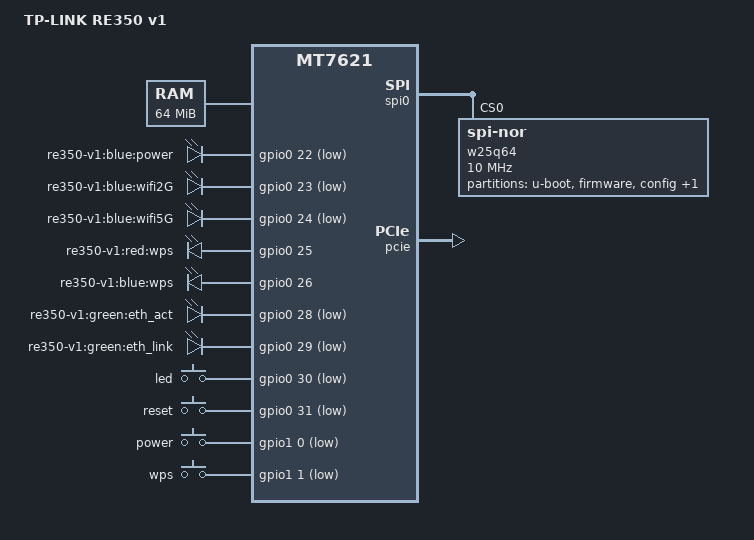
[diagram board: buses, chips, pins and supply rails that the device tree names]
/dts-v1/;

#include "mt7621.dtsi"

#include <dt-bindings/gpio/gpio.h>
#include <dt-bindings/input/input.h>

/ {
	compatible = "tplink,re350-v1", "mediatek,mt7621-soc";
	model = "TP-LINK RE350 v1";

	aliases {
		led-boot = &led_power;
		led-failsafe = &led_power;
		led-running = &led_power;
		led-upgrade = &led_power;
	};

	memory@0 {
		device_type = "memory";
		reg = <0x0 0x4000000>;
	};

	chosen {
		bootargs = "console=ttyS0,57600";
	};

	leds {
		compatible = "gpio-leds";

		led_power: power {
			label = "re350-v1:blue:power";
			gpios = <&gpio0 22 GPIO_ACTIVE_LOW>;
		};

		wifi2g {
			label = "re350-v1:blue:wifi2G";
			gpios = <&gpio0 23 GPIO_ACTIVE_LOW>;
		};

		wifi5g {
			label = "re350-v1:blue:wifi5G";
			gpios = <&gpio0 24 GPIO_ACTIVE_LOW>;
		};

		wps_r {
			label = "re350-v1:red:wps";
			gpios = <&gpio0 25 GPIO_ACTIVE_HIGH>;
		};

		wps_b {
			label = "re350-v1:blue:wps";
			gpios = <&gpio0 26 GPIO_ACTIVE_HIGH>;
		};

		eth {
			label = "re350-v1:green:eth_act";
			gpios = <&gpio0 28 GPIO_ACTIVE_LOW>;
		};

		eth2 {
			label = "re350-v1:green:eth_link";
			gpios = <&gpio0 29 GPIO_ACTIVE_LOW>;
		};
	};

	keys {
		compatible = "gpio-keys-polled";
		poll-interval = <20>;

		led {
			label = "led";
			gpios = <&gpio0 30 GPIO_ACTIVE_LOW>;
			linux,code = <BTN_0>;
		};

		reset {
			label = "reset";
			gpios = <&gpio0 31 GPIO_ACTIVE_LOW>;
			linux,code = <KEY_RESTART>;
		};

		power {
			label = "power";
			gpios = <&gpio1 0 GPIO_ACTIVE_LOW>;
			linux,code = <KEY_POWER>;
		};

		wps {
			label = "wps";
			gpios = <&gpio1 1 GPIO_ACTIVE_LOW>;
			linux,code = <KEY_WPS_BUTTON>;
		};
	};
};

&spi0 {
	status = "okay";

	w25q64@0 {
		compatible = "jedec,spi-nor";
		reg = <0>;
		spi-max-frequency = <10000000>;

		partitions {
			compatible = "fixed-partitions";
			#address-cells = <1>;
			#size-cells = <1>;

			partition@0 {
				label = "u-boot";
				reg = <0x0 0x20000>;
				read-only;
			};

			partition@20000 {
				compatible = "tplink,firmware";
				label = "firmware";
				reg = <0x20000 0x5e0000>;
			};

			config: partition@600000 {
				label = "config";
				reg = <0x600000 0x50000>;
				read-only;
			};

			radio: partition@7f0000 {
				label = "radio";
				reg = <0x7f0000 0x10000>;
				read-only;
			};
		};
	};
};

&pcie {
	status = "okay";
};

&pcie0 {
	mt76@0,0 {
		reg = <0x0000 0 0 0 0>;
		mediatek,mtd-eeprom = <&radio 0>;
		mtd-mac-address = <&config 0x10008>;
		mtd-mac-address-increment = <1>;
	};
};

&pcie1 {
	mt76@0,0 {
		reg = <0x0000 0 0 0 0>;
		mediatek,mtd-eeprom = <&radio 0x8000>;
		ieee80211-freq-limit = <5000000 6000000>;
		mtd-mac-address = <&config 0x10008>;
		mtd-mac-address-increment = <2>;
	};
};

&ethernet {
	mtd-mac-address = <&config 0x10008>;
};

&pinctrl {
	state_default: pinctrl0 {
		gpio {
			ralink,group = "rgmii2", "wdt";
			ralink,function = "gpio";
		};
	};
};
